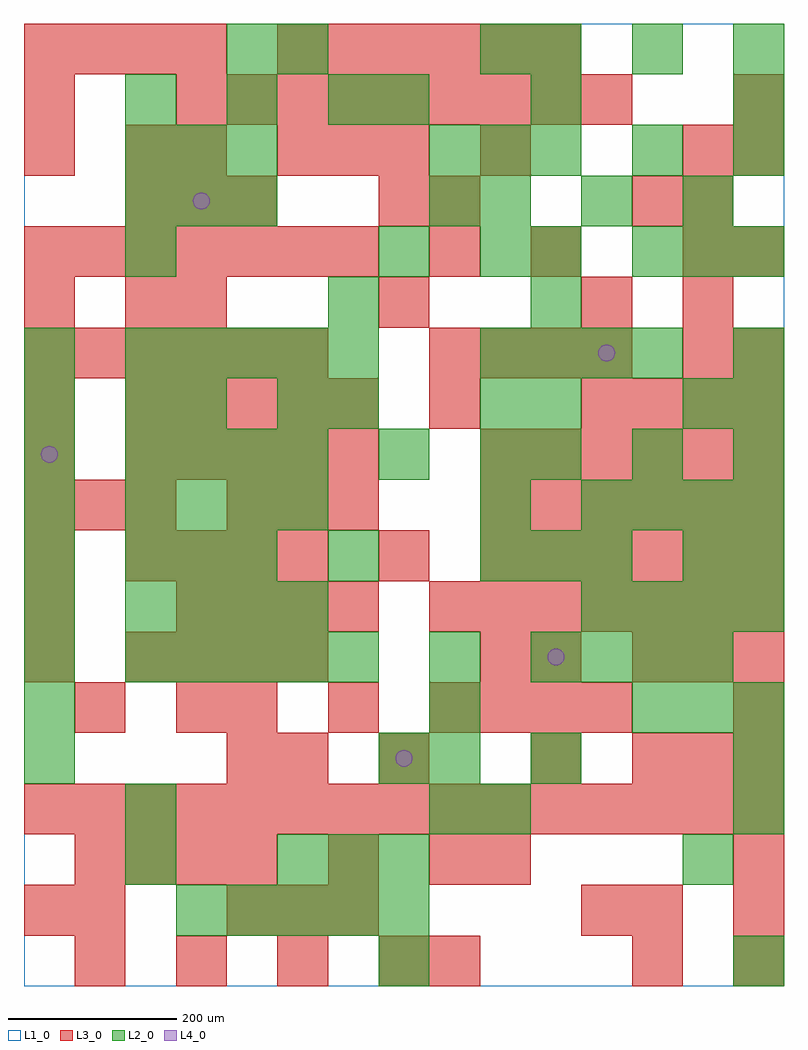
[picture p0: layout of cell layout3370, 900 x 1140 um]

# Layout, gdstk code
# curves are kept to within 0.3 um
import gdstk
lib = gdstk.Library(unit=1e-6, precision=1e-09)
def R(c, l, rs):  # rectangles x0, y0, x1, y1
    for r in rs: c.add(gdstk.rectangle(r[:2], r[2:], *l))
def A(c, l, x, y, w, h, nx, ny, dx, dy):  # array of equal rectangles
    R(c, l, [(x+i*dx, y+j*dy, x+i*dx+w, y+j*dy+h) for i in range(nx) for j in range(ny)])
def P(c, l, *ps):  # polygons
    for p in ps: c.add(gdstk.Polygon(p, *l))
L1_0 = (1, 0)
L2_0 = (2, 0)
L3_0 = (3, 0)
L4_0 = (4, 0)

layout3370 = lib.new_cell('layout3370')
R(layout3370, L1_0, [(0,0,900,1140)])
A(layout3370, L2_0, 180, 60, 60, 60, 5, 1, 60, 0)
A(layout3370, L2_0, 300, 120, 60, 60, 3, 1, 60, 0)
A(layout3370, L2_0, 480, 180, 60, 60, 1, 4, 0, 60)
A(layout3370, L2_0, 0, 240, 60, 60, 1, 9, 0, 60)
A(layout3370, L2_0, 720, 300, 60, 60, 3, 2, 60, 540)
A(layout3370, L2_0, 120, 360, 60, 60, 5, 2, 60, 360)
A(layout3370, L2_0, 600, 360, 60, 60, 4, 1, 60, 0)
A(layout3370, L2_0, 120, 420, 60, 60, 4, 2, 60, 120)
A(layout3370, L2_0, 660, 420, 60, 60, 4, 2, 60, 120)
A(layout3370, L2_0, 120, 480, 60, 60, 3, 2, 60, 420)
A(layout3370, L2_0, 540, 480, 60, 60, 3, 1, 60, 0)
A(layout3370, L2_0, 540, 540, 60, 60, 1, 3, 0, 60)
A(layout3370, L2_0, 120, 600, 60, 60, 4, 1, 60, 0)
A(layout3370, L2_0, 600, 600, 60, 60, 3, 2, 120, 480)
A(layout3370, L2_0, 540, 720, 60, 60, 4, 1, 60, 0)
A(layout3370, L2_0, 540, 900, 60, 60, 3, 1, 120, 0)
A(layout3370, L2_0, 120, 960, 60, 60, 3, 1, 60, 0)
A(layout3370, L2_0, 480, 960, 60, 60, 3, 1, 60, 0)
A(layout3370, L2_0, 120, 1020, 60, 60, 3, 1, 120, 0)
R(layout3370, L2_0, [(420,0,480,60), (840,0,900,60), (120,120,180,180), (780,120,840,180), (120,180,180,240), (540,180,600,240), (840,180,900,240), (420,240,480,300), (600,240,660,300), (840,240,900,300), (360,480,420,540), (780,480,840,540), (840,480,900,540), (420,600,480,660), (120,660,180,720), (180,660,240,720), (300,660,360,720), (360,660,420,720), (600,660,660,720), (780,660,840,720), (840,660,900,720), (840,720,900,780), (360,780,420,840), (600,780,660,840), (120,840,180,900), (420,840,480,900), (540,840,600,900), (600,840,660,900), (480,900,540,960), (720,960,780,1020), (840,960,900,1020), (420,1020,480,1080), (600,1020,660,1080), (840,1020,900,1080), (240,1080,300,1140), (300,1080,360,1140), (540,1080,600,1140)])
A(layout3370, L3_0, 60, 0, 60, 60, 4, 1, 120, 0)
A(layout3370, L3_0, 840, 0, 60, 60, 1, 3, 0, 60)
A(layout3370, L3_0, 240, 60, 60, 60, 3, 2, 60, 480)
A(layout3370, L3_0, 60, 120, 60, 60, 4, 1, 60, 0)
A(layout3370, L3_0, 0, 180, 60, 60, 15, 1, 60, 0)
A(layout3370, L3_0, 720, 240, 60, 60, 3, 2, 60, 120)
A(layout3370, L3_0, 240, 300, 60, 60, 3, 1, 120, 0)
A(layout3370, L3_0, 540, 300, 60, 60, 3, 1, 60, 0)
A(layout3370, L3_0, 0, 360, 60, 60, 1, 3, 0, 60)
A(layout3370, L3_0, 120, 360, 60, 60, 4, 2, 60, 120)
A(layout3370, L3_0, 180, 420, 60, 60, 4, 1, 60, 0)
A(layout3370, L3_0, 480, 420, 60, 60, 7, 1, 60, 0)
A(layout3370, L3_0, 540, 480, 60, 60, 6, 3, 60, 60)
A(layout3370, L3_0, 0, 540, 60, 60, 3, 1, 60, 0)
A(layout3370, L3_0, 120, 600, 60, 60, 5, 2, 60, 60)
A(layout3370, L3_0, 660, 660, 60, 60, 4, 1, 60, 0)
A(layout3370, L3_0, 0, 720, 60, 60, 6, 1, 60, 0)
A(layout3370, L3_0, 480, 720, 60, 60, 4, 1, 60, 0)
A(layout3370, L3_0, 780, 720, 60, 60, 1, 5, 0, 60)
A(layout3370, L3_0, 840, 720, 60, 60, 1, 3, 0, 120)
A(layout3370, L3_0, 180, 780, 60, 60, 3, 1, 240, 0)
A(layout3370, L3_0, 0, 840, 60, 60, 7, 1, 60, 0)
A(layout3370, L3_0, 120, 900, 60, 60, 3, 1, 60, 0)
A(layout3370, L3_0, 300, 960, 60, 60, 3, 1, 60, 0)
A(layout3370, L3_0, 180, 1020, 60, 60, 9, 1, 60, 0)
A(layout3370, L3_0, 0, 1080, 60, 60, 4, 1, 60, 0)
A(layout3370, L3_0, 300, 1080, 60, 60, 6, 1, 60, 0)
R(layout3370, L3_0, [(480,0,540,60), (720,0,780,60), (0,60,60,120), (60,60,120,120), (660,60,720,120), (720,60,780,120), (360,120,420,180), (480,120,540,180), (540,120,600,180), (240,240,300,300), (300,240,360,300), (420,240,480,300), (600,240,660,300), (60,300,120,360), (180,300,240,360), (840,300,900,360), (540,360,600,420), (600,360,660,420), (420,480,480,540), (0,600,60,660), (0,660,60,720), (480,660,540,720), (0,780,60,840), (120,780,180,840), (480,840,540,900), (600,840,660,900), (420,900,480,960), (480,900,540,960), (720,900,780,960), (0,960,60,1020), (120,960,180,1020), (180,960,240,1020), (540,960,600,1020), (0,1020,60,1080), (840,1020,900,1080)])
P(layout3370, L4_0, [(40,630),(39.239,633.827),(37.071,637.071),(33.827,639.239),(30,640),(26.173,639.239),(22.929,637.071),(20.761,633.827),(20,630),(20.761,626.173),(22.929,622.929),(26.173,620.761),(30,620),(33.827,620.761),(37.071,622.929),(39.239,626.173)],
  [(220,930),(219.239,933.827),(217.071,937.071),(213.827,939.239),(210,940),(206.173,939.239),(202.929,937.071),(200.761,933.827),(200,930),(200.761,926.173),(202.929,922.929),(206.173,920.761),(210,920),(213.827,920.761),(217.071,922.929),(219.239,926.173)],
  [(460,270),(459.239,273.827),(457.071,277.071),(453.827,279.239),(450,280),(446.173,279.239),(442.929,277.071),(440.761,273.827),(440,270),(440.761,266.173),(442.929,262.929),(446.173,260.761),(450,260),(453.827,260.761),(457.071,262.929),(459.239,266.173)],
  [(640,390),(639.239,393.827),(637.071,397.071),(633.827,399.239),(630,400),(626.173,399.239),(622.929,397.071),(620.761,393.827),(620,390),(620.761,386.173),(622.929,382.929),(626.173,380.761),(630,380),(633.827,380.761),(637.071,382.929),(639.239,386.173)],
  [(700,750),(699.239,753.827),(697.071,757.071),(693.827,759.239),(690,760),(686.173,759.239),(682.929,757.071),(680.761,753.827),(680,750),(680.761,746.173),(682.929,742.929),(686.173,740.761),(690,740),(693.827,740.761),(697.071,742.929),(699.239,746.173)])

lib.write_gds('layout3370.gds')
